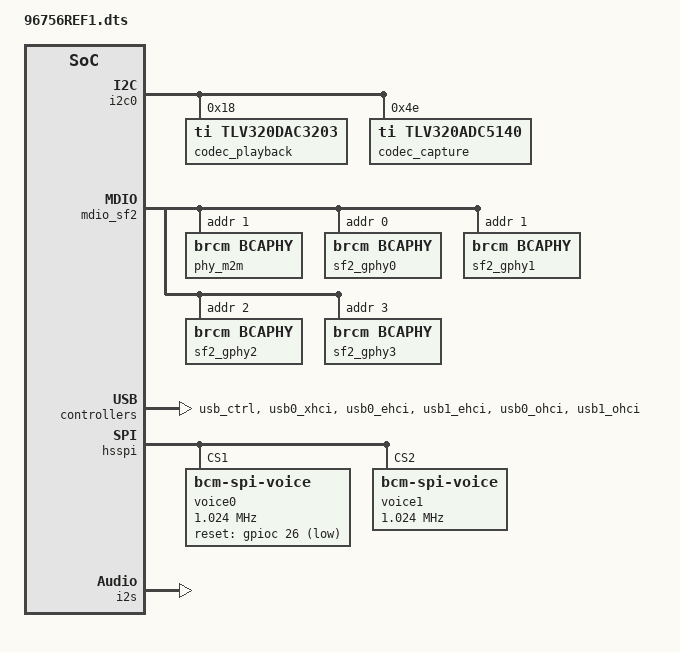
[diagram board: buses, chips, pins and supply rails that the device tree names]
#include "6756.dtsi"
#include "../bcm_voice.dtsi"

/ {
	memory_controller {
		memcfg = <(BP_DDR_SPEED_1067_14_14_14 | \
			BP_DDR_TOTAL_SIZE_512MB    | \
			BP_DDR_DEVICE_WIDTH_16     | \
			BP_DDR_TOTAL_WIDTH_16BIT   | \
			BP_DDR_6756_DEFAULT)>;
	};

	buttons {
		compatible = "brcm,buttons";
		ses_button {
			ext_irq = <&bca_extintr 4 BCA_GPIO_ACTIVE_LOW (BCA_EXTINTR_TYPE_LOW_LEVEL | BCA_EXTINTR_TYPE_SENSE_EDGE)>;
			release {
				ses_short_period = <0>;
				ses_long_period = <3>;
			};
		};
	};

	switch_sf2_ext:0 {
	};

};

&sysport {
    ethsw_ext = <&switch_sf2_ext>;
};

&i2c0 {
	pinctrl-names="default";
	pinctrl-0 = <&i2c_sda_pin_16 &i2c_scl_pin_17>;
	status = "okay";
	
	#address-cells = <1>;
	#size-cells = <0>;
	codec_playback:codec_palyback@18{
		compatible = "ti,tlv320dac3203";
		reg = <0x18>;
	};
	codec_capture:codec_capture@4e{
		compatible = "ti,tlv320adc5140";
		reg = <0x4e>;
	};
};

&mdio_sf2 {
	phy_ge:8 {
		status = "okay";
	};

	phy_m2m:m2m {
		compatible = "brcm,bcaphy";
		phy-type = "MAC2MAC";
		reg = <1>;
		status = "okay";
		phy-extswitch;
	};

	/* PHYs on external SF2 switch */
	sf2_gphy0:0 {
		compatible = "brcm,bcaphy";
		phy-type = "EGPHY";
		reg = <0>;
		status = "okay";
	};
	sf2_gphy1:1 {
		compatible = "brcm,bcaphy";
		phy-type = "EGPHY";
		reg = <1>;
		status = "okay";
	};
	sf2_gphy2:2 {
		compatible = "brcm,bcaphy";
		phy-type = "EGPHY";
		reg = <2>;
		status = "okay";
	};
	sf2_gphy3:3 {
		compatible = "brcm,bcaphy";
		phy-type = "EGPHY";
		reg = <3>;
		status = "okay";
	};
};


&switch_sf2_ext {                       /* linux/uboot: external sf2 */
	unit = <1>;
	sw-type = "SF2_SW";

	compatible = "brcm,bcmbca-extsw";
	reg-names ="parent-rgmii-ctrl",
	           "parent-gpio-pad-ctrl";
	reg = <0x804800ec 0x44>,
	      <0xff800500 0x78>;
	switch-reset = <&gpioc 10 GPIO_ACTIVE_LOW>;

	ports {
		#address-cells = <1>;
		#size-cells = <0>;

		sf2_port0@0 {
			phy-handle = <&sf2_gphy0>;
			reg = <0>;
			mac-type = "SF2MAC";
			phy-mode = "gmii";
			gmii-direct;
			status = "okay";
		};
		sf2_port1@1 {
			phy-handle = <&sf2_gphy1>;
			reg = <1>;
			mac-type = "SF2MAC";
			phy-mode = "gmii";
			gmii-direct;
			status = "okay";
		};
		sf2_port2@2 {
			phy-handle = <&sf2_gphy2>;
			reg = <2>;
			mac-type = "SF2MAC";
			phy-mode = "gmii";
			gmii-direct;
			status = "okay";
		};
		sf2_port3@3 {
			phy-handle = <&sf2_gphy3>;
			reg = <3>;
			mac-type = "SF2MAC";
			phy-mode = "gmii";
			gmii-direct;
			status = "okay";
		};
		sf2_port8@8 {
			management;                     /* sf2_ext.p8 <--> root.p1 */
			reg = <8>;
			mac-type = "SF2MAC";
			shrink-ipg;
			phy-mode = "gmii";
			gmii-direct;
			status = "okay";
		};
	};
};

&switch0 {                              /* linux/uboot: internal sf2 */
	pinctrl-names = "default", "rgmii"; 
	pinctrl-0 = <&a_rgmii_mdc_pin_68 &a_rgmii_mdio_pin_69 &rgmii_pins>; 
	pinctrl-1 = <&rgmii_pins>; 

	ports {
		port0@0 {
			phy-handle = <&phy_ge>;
			status = "okay";
		};
		port1@1 {
			phy-handle = <&phy_m2m>;
			mii-pinctrl-state = "rgmii";
			phy-mode = "rgmii";
			rgmii-3p3v;
			rx-delay;
			tx-delay;
			link = <&switch_sf2_ext>;           /* root.p1 <--> sf2_ext.p8 */
			shrink-ipg;
			status = "okay";
		};
	};
};

&usb_ctrl {
	pinctrl-names="default";
	pinctrl-0 = <&usb0_pwr_pins &usb1_pwr_pins>;
	pwron-bias-pull-up;
	status = "okay";
	xhci-enable;
};

&usb0_xhci {
	status = "okay";
};

&usb0_ehci {
	status = "okay";
};

&usb1_ehci {
	status = "okay";
};

&usb0_ohci {
	status = "okay";
};

&usb1_ohci {
	status = "okay";
};

&legacy_leds {
	wl-sess-led = <&led2>;
	wl0-led = <&led3>;
	wl1-led = <&led4>;
};
&led_ctrl {
	led0: port_0-led-0 {
		active_high;
		link = <(LED_SPEED_100|LED_SPEED_1G)>;
		pinctrl-0=<&a_per_led_00_pin_0>;
		status = "okay";
	};
	led1: port_0-led-2 {
		active_low;
		activity = <LED_SPEED_GBE>;
		pinctrl-0=<&a_per_led_03_pin_3>;
		status = "okay";
	};
	led2: sw_led_01 {
		active_low;
		pinctrl-0=<&a_per_led_01_pin_1>;
		status = "okay";
	};
	led3:led_gpio_7 {
		compatible = "brcm,gpio-led";
		software_led;
		pin = <7>;
		active_low;
	};
	led4:led_gpio_36 {
		compatible = "brcm,gpio-led";
		software_led;
		pin = <36>;
		active_low;
	};
};

&bcm_voice{
	sliclist = SLICSLAC_LIST_COMMON_NOFXO;
};

&hsspi {
	voice0 {
		pinctrl-0 = <&spim_ss1_b_pin_76>;
		pinctrl-names = "default";
		compatible = "bcm-spi-voice";
		reg = <1>; /* chip select 1 */
		spi-max-frequency = <1024000>;
		reset-gpio = <&gpioc 26 GPIO_ACTIVE_LOW>;
		spi-index = <0>;/* voice header index */
	};
	voice1 {
		pinctrl-0 = <&spim_ss2_b_pin_10>;
		pinctrl-names = "default";
		compatible = "bcm-spi-voice";
		reg = <2>; /* chip select 2 */
		spi-max-frequency = <1024000>;
		/*reset-gpio = NA*/
		spi-index = <1>;/* voice header index */
	};
};
/* RX lrclk and sclk are from voice header, voice would not work if audio enabled or vice versa*/
&i2s {
			pinctrl-0 = <&i2s_tx_sclk_pin_11 &i2s_tx_lrck_pin_12 &i2s_tx_sdata_pin_15 &i2s_tx_mclk_pin_14 &i2s_rx_sclk_pin_22 &i2s_rx_lrck_pin_23 &i2s_rx_sdata_pin_13 &i2s_rx_mclk_pin_24>;
			pinctrl-names = "default";
			status = "okay";
};
